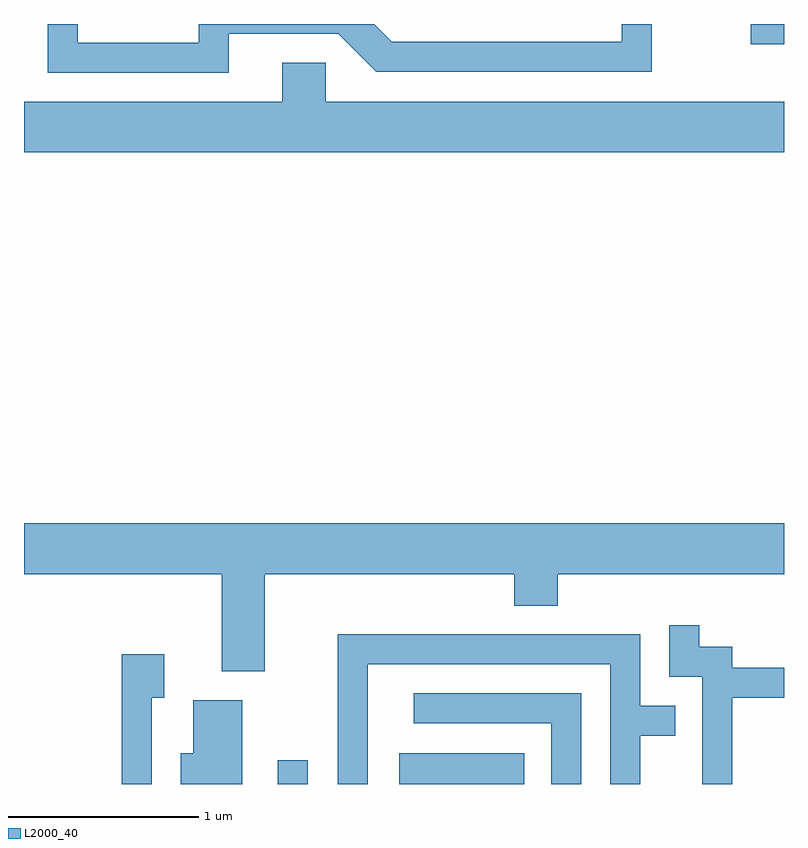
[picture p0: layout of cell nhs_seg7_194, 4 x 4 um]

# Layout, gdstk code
import gdstk
lib = gdstk.Library(unit=1e-6, precision=1e-09)
def R(c, l, rs):  # rectangles x0, y0, x1, y1
    for r in rs: c.add(gdstk.rectangle(r[:2], r[2:], *l))
def P(c, l, *ps):  # polygons
    for p in ps: c.add(gdstk.Polygon(p, *l))
L2000_40 = (2000, 40)

nhs_seg7_194 = lib.new_cell('nhs_seg7_194')
R(nhs_seg7_194, L2000_40, [(190.946,1784.252,191.104,1784.378), (191.586,1784.252,192.243,1784.414), (193.436,1788.146,193.611,1788.252)])
P(nhs_seg7_194, L2000_40, [(190.689,1788.201),(191.264,1788.201),(191.464,1788.001),(192.914,1788.001),(192.914,1788.252),(192.756,1788.252),(192.756,1788.159),(191.547,1788.159),(191.454,1788.252),(190.531,1788.252),(190.531,1788.154),(189.894,1788.154),(189.894,1788.252),(189.736,1788.252),(189.736,1787.996),(190.689,1787.996)],
  [(193.611,1787.844),(191.199,1787.844),(191.199,1788.049),(190.971,1788.049),(190.971,1787.844),(189.611,1787.844),(189.611,1787.576),(193.611,1787.576)],
  [(190.879,1785.356),(192.191,1785.356),(192.191,1785.191),(192.419,1785.191),(192.419,1785.356),(193.611,1785.356),(193.611,1785.624),(189.611,1785.624),(189.611,1785.356),(190.651,1785.356),(190.651,1784.846),(190.879,1784.846)],
  [(193.339,1784.706),(193.611,1784.706),(193.611,1784.864),(193.339,1784.864),(193.339,1784.974),(193.164,1784.974),(193.164,1785.088),(193.006,1785.088),(193.006,1784.816),(193.181,1784.816),(193.181,1784.252),(193.339,1784.252)],
  [(191.419,1784.881),(192.696,1784.881),(192.696,1784.252),(192.854,1784.252),(192.854,1784.506),(193.038,1784.506),(193.038,1784.664),(192.854,1784.664),(192.854,1785.039),(191.261,1785.039),(191.261,1784.252),(191.419,1784.252)],
  [(190.284,1784.706),(190.349,1784.706),(190.349,1784.934),(190.126,1784.934),(190.126,1784.252),(190.284,1784.252)],
  [(192.544,1784.729),(191.663,1784.729),(191.663,1784.571),(192.386,1784.571),(192.386,1784.252),(192.544,1784.252)],
  [(190.759,1784.694),(190.501,1784.694),(190.501,1784.414),(190.436,1784.414),(190.436,1784.252),(190.759,1784.252)])

lib.write_gds('nhs_seg7_194.gds')
